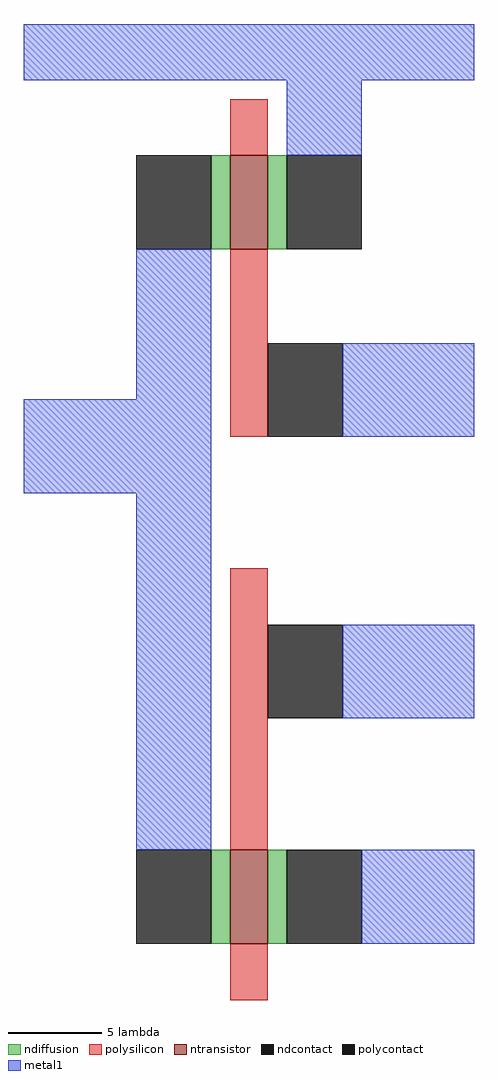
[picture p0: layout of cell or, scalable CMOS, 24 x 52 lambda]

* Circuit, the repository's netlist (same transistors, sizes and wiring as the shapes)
* SPICE3 file created from or.ext - technology: scmos

.option scale=0.09u

M1000 a_13_n29# a_11_n32# a_6_n29# Gnd nfet w=5 l=2
+  ad=25 pd=20 as=50 ps=40
M1001 a_13_8# a_11_n2# a_6_n29# Gnd nfet w=5 l=2
+  ad=25 pd=20 as=0 ps=0

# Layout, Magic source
magic
tech scmos
<< ntransistor >>
rect 11 8 13 13
rect 11 -29 13 -24
<< ndiffusion >>
rect 10 8 11 13
rect 13 8 14 13
rect 10 -29 11 -24
rect 13 -29 14 -24
<< ndcontact >>
rect 6 8 10 13
rect 14 8 18 13
rect 6 -29 10 -24
rect 14 -29 18 -24
<< polysilicon >>
rect 11 13 13 16
rect 11 -2 13 8
rect 11 -24 13 -9
rect 11 -32 13 -29
<< polycontact >>
rect 13 -2 17 3
rect 13 -17 17 -12
<< metal1 >>
rect 0 17 24 20
rect 14 13 18 17
rect 6 0 10 8
rect 0 -5 10 0
rect 17 -2 24 3
rect 6 -24 10 -5
rect 17 -17 24 -12
rect 18 -29 24 -24
<< end >>
